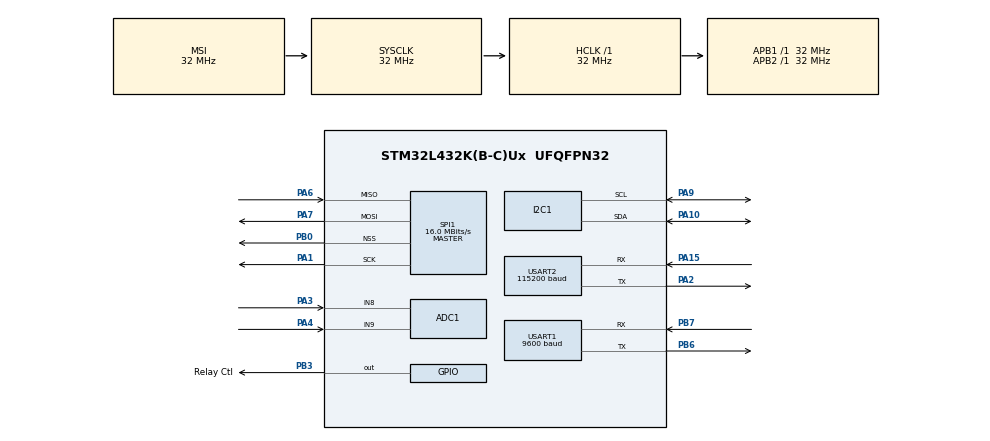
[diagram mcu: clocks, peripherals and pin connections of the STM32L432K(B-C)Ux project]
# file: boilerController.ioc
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ADC1.Channel-0\#ChannelRegularConversion=ADC_CHANNEL_8
ADC1.Channel-1\#ChannelRegularConversion=ADC_CHANNEL_9
ADC1.ClockPrescaler=ADC_CLOCK_SYNC_PCLK_DIV1
ADC1.ContinuousConvMode=ENABLE
ADC1.DMAContinuousRequests=ENABLE
ADC1.NbrOfConversion=2
ADC1.NbrOfConversionFlag=1
ADC1.OffsetNumber-0\#ChannelRegularConversion=ADC_OFFSET_NONE
ADC1.OffsetNumber-1\#ChannelRegularConversion=ADC_OFFSET_NONE
ADC1.Rank-0\#ChannelRegularConversion=1
ADC1.Rank-1\#ChannelRegularConversion=2
ADC1.SamplingTime-0\#ChannelRegularConversion=ADC_SAMPLETIME_247CYCLES_5
ADC1.SamplingTime-1\#ChannelRegularConversion=ADC_SAMPLETIME_247CYCLES_5
ADC1.master=1
Dma.ADC1.0.Direction=DMA_PERIPH_TO_MEMORY
Dma.ADC1.0.Instance=DMA1_Channel1
Dma.ADC1.0.MemDataAlignment=DMA_MDATAALIGN_WORD
Dma.ADC1.0.MemInc=DMA_MINC_ENABLE
Dma.ADC1.0.Mode=DMA_CIRCULAR
Dma.ADC1.0.PeriphDataAlignment=DMA_PDATAALIGN_WORD
Dma.ADC1.0.PeriphInc=DMA_PINC_DISABLE
Dma.ADC1.0.Priority=DMA_PRIORITY_LOW
Dma.Request0=ADC1
Dma.Request1=USART1_RX
Dma.USART1_RX.1.Direction=DMA_PERIPH_TO_MEMORY
Dma.USART1_RX.1.Instance=DMA1_Channel5
Dma.USART1_RX.1.MemDataAlignment=DMA_MDATAALIGN_BYTE
Dma.USART1_RX.1.MemInc=DMA_MINC_ENABLE
Dma.USART1_RX.1.Mode=DMA_CIRCULAR
Dma.USART1_RX.1.PeriphDataAlignment=DMA_PDATAALIGN_BYTE
Dma.USART1_RX.1.PeriphInc=DMA_PINC_DISABLE
Dma.USART1_RX.1.Priority=DMA_PRIORITY_LOW
I2C1.Timing=0x00707CBB
Mcu.Family=STM32L4
Mcu.Name=STM32L432K(B-C)Ux
Mcu.Package=UFQFPN32
NVIC.DMA1_Channel1_IRQn=true\:0\:0\:false\:false\:true\:false
NVIC.DMA1_Channel5_IRQn=true\:0\:0\:false\:false\:true\:false
NVIC.PriorityGroup=NVIC_PRIORITYGROUP_4
NVIC.RTC_Alarm_IRQn=true\:0\:0\:false\:false\:true\:true
PA1.Mode=Full_Duplex_Master
PA1.Signal=SPI1_SCK
PA10.Mode=I2C
PA10.Signal=I2C1_SDA
PA13\ (JTMS-SWDIO).Mode=Serial_Wire
PA13\ (JTMS-SWDIO).Signal=SYS_JTMS-SWDIO
PA14\ (JTCK-SWCLK).Mode=Serial_Wire
PA14\ (JTCK-SWCLK).Signal=SYS_JTCK-SWCLK
PA15\ (JTDI).Mode=Asynchronous
PA15\ (JTDI).Signal=USART2_RX
PA2.Mode=Asynchronous
PA2.Signal=USART2_TX
PA3.Signal=ADCx_IN8
PA4.Signal=ADCx_IN9
PA6.Mode=Full_Duplex_Master
PA6.Signal=SPI1_MISO
PA7.Mode=Full_Duplex_Master
PA7.Signal=SPI1_MOSI
PA9.Mode=I2C
PA9.Signal=I2C1_SCL
PB0.Mode=NSS_Signal_Hard_Output
PB0.Signal=SPI1_NSS
PB3\ (JTDO-TRACESWO).GPIO_Label=Relay Ctl
PB3\ (JTDO-TRACESWO).Signal=GPIO_Output
PB6.Mode=Asynchronous
PB6.Signal=USART1_TX
PB7.Mode=Asynchronous
PB7.Signal=USART1_RX
ProjectManager.HeapSize=0x200
ProjectManager.StackSize=0x400
ProjectManager.TargetToolchain=TrueSTUDIO
RCC.ADCFreq_Value=64000000
RCC.AHBFreq_Value=32000000
RCC.APB1Freq_Value=32000000
RCC.APB1TimFreq_Value=32000000
RCC.APB2Freq_Value=32000000
RCC.APB2TimFreq_Value=32000000
RCC.CortexFreq_Value=32000000
RCC.HCLKFreq_Value=32000000
RCC.HSE_VALUE=8000000
RCC.HSI48_VALUE=48000000
RCC.HSI_VALUE=16000000
RCC.LSE_VALUE=32768
RCC.MSIClockRange=RCC_MSIRANGE_10
RCC.MSI_VALUE=32000000
RCC.PLLM=2
RCC.SYSCLKFreq_VALUE=32000000
RCC.USBFreq_Value=64000000
RCC.VCOOutputFreq_Value=128000000
RTC.Alarm=RTC_ALARM_A
RTC.AlarmMaskDateWeekDay=RTC_ALARMMASK_DATEWEEKDAY
RTC.AlarmMaskHours=RTC_ALARMMASK_HOURS
RTC.AlarmMaskMinutes=RTC_ALARMMASK_MINUTES
RTC.AlarmMaskSeconds=RTC_ALARMMASK_SECONDS
RTC.Date=30
RTC.DayLightSaving=RTC_DAYLIGHTSAVING_SUB1H
RTC.Format=RTC_FORMAT_BIN
RTC.Hours=3
RTC.Hours_A=0
RTC.Minutes=4
RTC.Month=RTC_MONTH_DECEMBER
RTC.Seconds=5
RTC.Seconds_A=0
RTC.Year=17
SH.ADCx_IN8.0=ADC1_IN8,IN8-Single-Ended
SH.ADCx_IN9.0=ADC1_IN9,IN9-Single-Ended
SPI1.CalculateBaudRate=16.0 MBits/s
SPI1.Direction=SPI_DIRECTION_2LINES
SPI1.Mode=SPI_MODE_MASTER
SPI1.VirtualNSS=VM_NSSHARD
SPI1.VirtualType=VM_MASTER
USART1.BaudRate=9600
USART1.VirtualMode-Asynchronous=VM_ASYNC
USART2.BaudRate=115200
USART2.VirtualMode-Asynchronous=VM_ASYNC
VP_ADC1_Vref_Input.Mode=IN-Vrefint
VP_RTC_VS_RTC_Activate.Mode=RTC_Enabled
VP_RTC_VS_RTC_Alarm_A_Intern.Mode=Alarm A
VP_RTC_VS_RTC_Calendar.Mode=RTC_Calendar
board=custom

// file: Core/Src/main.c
/* USER CODE BEGIN Header */
/**
  ******************************************************************************
  * @file           : main.c
  * @brief          : Main program body
  ******************************************************************************
  ** This notice applies to any and all portions of this file
  * that are not between comment pairs USER CODE BEGIN and
  * USER CODE END. Other portions of this file, whether
  * inserted by the user or by software development tools
  * are owned by their respective copyright owners.
  *
  * COPYRIGHT(c) 2018 STMicroelectronics
  *
  * Redistribution and use in source and binary forms, with or without modification,
  * are permitted provided that the following conditions are met:
  *   1. Redistributions of source code must retain the above copyright notice,
  *      this list of conditions and the following disclaimer.
  *   2. Redistributions in binary form must reproduce the above copyright notice,
  *      this list of conditions and the following disclaimer in the documentation
  *      and/or other materials provided with the distribution.
  *   3. Neither the name of STMicroelectronics nor the names of its contributors
  *      may be used to endorse or promote products derived from this software
  *      without specific prior written permission.
  *
  * THIS SOFTWARE IS PROVIDED BY THE COPYRIGHT HOLDERS AND CONTRIBUTORS "AS IS"
  * AND ANY EXPRESS OR IMPLIED WARRANTIES, INCLUDING, BUT NOT LIMITED TO, THE
  * IMPLIED WARRANTIES OF MERCHANTABILITY AND FITNESS FOR A PARTICULAR PURPOSE ARE
  * DISCLAIMED. IN NO EVENT SHALL THE COPYRIGHT HOLDER OR CONTRIBUTORS BE LIABLE
  * FOR ANY DIRECT, INDIRECT, INCIDENTAL, SPECIAL, EXEMPLARY, OR CONSEQUENTIAL
  * DAMAGES (INCLUDING, BUT NOT LIMITED TO, PROCUREMENT OF SUBSTITUTE GOODS OR
  * SERVICES; LOSS OF USE, DATA, OR PROFITS; OR BUSINESS INTERRUPTION) HOWEVER
  * CAUSED AND ON ANY THEORY OF LIABILITY, WHETHER IN CONTRACT, STRICT LIABILITY,
  * OR TORT (INCLUDING NEGLIGENCE OR OTHERWISE) ARISING IN ANY WAY OUT OF THE USE
  * OF THIS SOFTWARE, EVEN IF ADVISED OF THE POSSIBILITY OF SUCH DAMAGE.
  *
  ******************************************************************************
  */
/* USER CODE END Header */

#include "main.h"

/* USER CODE BEGIN Includes */
/*Notes:
add the linker flag to sprintf floats: “-u _printf_float”*/
#include "stdio.h"
#include "string.h"
#include "stdlib.h"
#include "../SSD1306/SSD1306.h"
#include "../temperature/temperature.h"
// Graphical resources
#include "../SSD1306/resources/font5x7.h"
#include "../SSD1306/resources/font7x10.h"
/* USER CODE END Includes */

ADC_HandleTypeDef hadc1;
DMA_HandleTypeDef hdma_adc1;

I2C_HandleTypeDef hi2c1;

RTC_HandleTypeDef hrtc;

SPI_HandleTypeDef hspi1;

UART_HandleTypeDef huart1;
UART_HandleTypeDef huart2;
DMA_HandleTypeDef hdma_usart1_rx;

/* USER CODE BEGIN PV */

uint32_t buffer_ADC[2];
uint8_t buffer_TXhuart1[35];
uint8_t buffer_RXhuart1[64];
uint8_t buffer_TXhuart2[23];
uint8_t buffer_RXhuart2[10];

uint8_t date[10];
uint8_t time[10];
uint8_t datetime[21];
uint8_t buffer_OLED[128];
uint8_t rx_buff[64];
uint32_t temperatures_NTC[2];
uint8_t tx_buff[] = {0,1,2,3,4,5,6,7,8,9};

uint8_t flag_alarmsec = 0;
uint8_t flag_alarmmin = 0;
uint8_t flag_BTRX = 0;

/* USER CODE END PV */

void SystemClock_Config(void);
static void MX_GPIO_Init(void);
static void MX_DMA_Init(void);
static void MX_ADC1_Init(void);
static void MX_I2C1_Init(void);
static void MX_USART1_UART_Init(void);
static void MX_SPI1_Init(void);
static void MX_RTC_Init(void);
static void MX_USART2_UART_Init(void);

/* USER CODE BEGIN 0 */
//ISR for ADC, DMA to results
void HAL_ADC_ConvCpltCallback(ADC_HandleTypeDef* hadc)
{
	//channel 8 then 9 (two ADC readings)
	memcpy(temperatures_NTC, buffer_ADC, sizeof(buffer_ADC));
}

//ISR for uart, DMA to results
void HAL_UART_RxCpltCallback(UART_HandleTypeDef *huart)
{
	memcpy(buffer_RXhuart1, rx_buff, sizeof(rx_buff));

	flag_BTRX = 1;
}

void HAL_RTC_AlarmAEventCallback(RTC_HandleTypeDef *hrtc)
{
	flag_alarmsec++;
	flag_alarmmin++;
}

void get_datetime()
{
	RTC_TimeTypeDef gTime = {0};
	RTC_DateTypeDef gDate = {0};

	HAL_RTC_GetTime(&hrtc, &gTime, RTC_FORMAT_BIN);
	HAL_RTC_GetDate(&hrtc, &gDate, RTC_FORMAT_BIN);

	sprintf((char*)time, "%02d:%02d:%02d", gTime.Hours, gTime.Minutes, gTime.Seconds);
	sprintf((char*)date, "%02d-%02d-%02d", gDate.Date, gDate.Month, 2000 + gDate.Year);
	sprintf((char*)datetime, "%02d-%02d-%d / %02d:%02d:%02d", gDate.Date, gDate.Month, 2000 + gDate.Year, gTime.Hours, gTime.Minutes, gTime.Seconds);
}

void set_datetime(uint32_t dateTime[])
{
	RTC_TimeTypeDef sTime = {0};
	RTC_DateTypeDef sDate = {0};

	sTime.Hours = dateTime[3];
	sTime.Minutes = dateTime[4];
	sTime.Seconds = dateTime[5];
	sTime.DayLightSaving = RTC_DAYLIGHTSAVING_NONE;
	sTime.StoreOperation = RTC_STOREOPERATION_RESET;
	sTime.TimeFormat = RTC_HOURFORMAT_24;
	if (HAL_RTC_SetTime(&hrtc, &sTime, RTC_FORMAT_BIN) != HAL_OK)
	{
	Error_Handler();
	}
	sDate.WeekDay = RTC_WEEKDAY_MONDAY;
	sDate.Date = dateTime[0];
	sDate.Month = dateTime[1];
	sDate.Year = dateTime[2];

	if (HAL_RTC_SetDate(&hrtc, &sDate, RTC_FORMAT_BIN) != HAL_OK)
	{
	Error_Handler();
	}
}

/* USER CODE END 0 */

int main(void)
{

  /* MCU Configuration--------------------------------------------------------*/

  /* Reset of all peripherals, Initializes the Flash interface and the Systick. */
  HAL_Init();

  /* Configure the system clock */
  SystemClock_Config();

  /* Initialize all configured peripherals */
  MX_GPIO_Init();
  MX_DMA_Init();
  MX_ADC1_Init();
  MX_I2C1_Init();
  MX_USART1_UART_Init();
  MX_SPI1_Init();
  MX_RTC_Init();
  MX_USART2_UART_Init();
  /* USER CODE BEGIN 2 */

  //DMA for analog temperature sensors
  HAL_ADC_Start_DMA(&hadc1, buffer_ADC, 2);
  //DMA for UART
  HAL_UART_Receive_DMA(&huart1, rx_buff, 64);
  //Initialization for SSD1300
  HAL_I2C_Init(&hi2c1);
  SSD1306_Init(hi2c1);
  HAL_Delay(100);
  SSD1306_Fill(0x00);
  SSD1306_Flush(hi2c1);

  /* USER CODE END 2 */

  /* Infinite loop */
  /* USER CODE BEGIN WHILE */
  while (1)
  {
	  //one second alarm
	  if(flag_alarmsec)
	  {
		  flag_alarmsec = 0;

		  //TO OLED
		  get_datetime();
		  SSD1306_Fill(0x00);
		  sprintf((char*)buffer_OLED, "Time: %s", (uint8_t *)time);
		  LCD_PutStr(0, 0, buffer_OLED ,fnt7x10);
		  sprintf((char*)buffer_OLED, "Date: %s", date);
		  LCD_PutStr(0, 14, buffer_OLED ,fnt7x10);
		  sprintf((char*)buffer_OLED, "H2O : %.1f", CalculateSteinhart(temperatures_NTC[0]));
		  LCD_PutStr(0, 34, buffer_OLED ,fnt7x10);
		  sprintf((char*)buffer_OLED, "AIR : %.1f", CalculateSteinhart(temperatures_NTC[1]));
		  LCD_PutStr(0, 48, buffer_OLED ,fnt7x10);
		  SSD1306_Flush(hi2c1);

		  //TO BLUETOOTH
		  sprintf((char*)buffer_TXhuart1, "%d,%05.1f,%05.1f,%s", LIVEDATA, CalculateSteinhart(temperatures_NTC[0]), CalculateSteinhart(temperatures_NTC[1]), datetime);
		  HAL_UART_Transmit(&huart1, buffer_TXhuart1, LIVADATA_SIZE, 100);
	  }

	  //ten second alarm
	  if(flag_alarmmin >= 10)
	  {
		  flag_alarmmin = 0;
		  HAL_UART_Transmit(&huart2, (uint8_t *)"Timer 10 timeout.\n", 18, 100);
	  }

	  //FROM BLUETOOTH
	  if(flag_BTRX == 1)
	  {
		  switch((int)(buffer_RXhuart1[0] - '0'))
		  {
		  	  case LIVEDATA:
		  	  {
		  		  char* token;
		  		  uint8_t i = 0;
		  		  uint32_t test[6] = {};

				  token = strtok ((char*)buffer_RXhuart1,",");
				  while (token != NULL)
				  {
					  if(i >= 1 && i <= 6)
						  test[i - 1] = atoi(token);

					  i++;
					  token = strtok (NULL, ",");
				  }
				  set_datetime(test);
		  		  break;
		  	  }
		  	  default:
		  		  break;
		  }
		  flag_BTRX = 0;
	  }
    /* USER CODE END WHILE */

    /* USER CODE BEGIN 3 */
	  HAL_Delay(100);
  }
  /* USER CODE END 3 */
}

void SystemClock_Config(void)
{
  RCC_OscInitTypeDef RCC_OscInitStruct = {0};
  RCC_ClkInitTypeDef RCC_ClkInitStruct = {0};
  RCC_PeriphCLKInitTypeDef PeriphClkInit = {0};

  /**Initializes the CPU, AHB and APB busses clocks
  */
  RCC_OscInitStruct.OscillatorType = RCC_OSCILLATORTYPE_LSI|RCC_OSCILLATORTYPE_MSI;
  RCC_OscInitStruct.LSIState = RCC_LSI_ON;
  RCC_OscInitStruct.MSIState = RCC_MSI_ON;
  RCC_OscInitStruct.MSICalibrationValue = 0;
  RCC_OscInitStruct.MSIClockRange = RCC_MSIRANGE_10;
  RCC_OscInitStruct.PLL.PLLState = RCC_PLL_NONE;
  if (HAL_RCC_OscConfig(&RCC_OscInitStruct) != HAL_OK)
  {
    Error_Handler();
  }
  /**Initializes the CPU, AHB and APB busses clocks
  */
  RCC_ClkInitStruct.ClockType = RCC_CLOCKTYPE_HCLK|RCC_CLOCKTYPE_SYSCLK
                              |RCC_CLOCKTYPE_PCLK1|RCC_CLOCKTYPE_PCLK2;
  RCC_ClkInitStruct.SYSCLKSource = RCC_SYSCLKSOURCE_MSI;
  RCC_ClkInitStruct.AHBCLKDivider = RCC_SYSCLK_DIV1;
  RCC_ClkInitStruct.APB1CLKDivider = RCC_HCLK_DIV1;
  RCC_ClkInitStruct.APB2CLKDivider = RCC_HCLK_DIV1;

  if (HAL_RCC_ClockConfig(&RCC_ClkInitStruct, FLASH_LATENCY_1) != HAL_OK)
  {
    Error_Handler();
  }
  PeriphClkInit.PeriphClockSelection = RCC_PERIPHCLK_RTC|RCC_PERIPHCLK_USART1
                              |RCC_PERIPHCLK_USART2|RCC_PERIPHCLK_I2C1
                              |RCC_PERIPHCLK_ADC;
  PeriphClkInit.Usart1ClockSelection = RCC_USART1CLKSOURCE_PCLK2;
  PeriphClkInit.Usart2ClockSelection = RCC_USART2CLKSOURCE_PCLK1;
  PeriphClkInit.I2c1ClockSelection = RCC_I2C1CLKSOURCE_PCLK1;
  PeriphClkInit.AdcClockSelection = RCC_ADCCLKSOURCE_PLLSAI1;
  PeriphClkInit.RTCClockSelection = RCC_RTCCLKSOURCE_LSI;
  PeriphClkInit.PLLSAI1.PLLSAI1Source = RCC_PLLSOURCE_MSI;
  PeriphClkInit.PLLSAI1.PLLSAI1M = 2;
  PeriphClkInit.PLLSAI1.PLLSAI1N = 8;
  PeriphClkInit.PLLSAI1.PLLSAI1P = RCC_PLLP_DIV7;
  PeriphClkInit.PLLSAI1.PLLSAI1Q = RCC_PLLQ_DIV2;
  PeriphClkInit.PLLSAI1.PLLSAI1R = RCC_PLLR_DIV2;
  PeriphClkInit.PLLSAI1.PLLSAI1ClockOut = RCC_PLLSAI1_ADC1CLK;
  if (HAL_RCCEx_PeriphCLKConfig(&PeriphClkInit) != HAL_OK)
  {
    Error_Handler();
  }
  /**Configure the main internal regulator output voltage
  */
  if (HAL_PWREx_ControlVoltageScaling(PWR_REGULATOR_VOLTAGE_SCALE1) != HAL_OK)
  {
    Error_Handler();
  }
}

static void MX_ADC1_Init(void)
{

  ADC_ChannelConfTypeDef sConfig = {0};

  /**Common config
  */
  hadc1.Instance = ADC1;
  hadc1.Init.ClockPrescaler = ADC_CLOCK_SYNC_PCLK_DIV1;
  hadc1.Init.Resolution = ADC_RESOLUTION_12B;
  hadc1.Init.DataAlign = ADC_DATAALIGN_RIGHT;
  hadc1.Init.ScanConvMode = ADC_SCAN_ENABLE;
  hadc1.Init.EOCSelection = ADC_EOC_SINGLE_CONV;
  hadc1.Init.LowPowerAutoWait = DISABLE;
  hadc1.Init.ContinuousConvMode = ENABLE;
  hadc1.Init.NbrOfConversion = 2;
  hadc1.Init.DiscontinuousConvMode = DISABLE;
  hadc1.Init.ExternalTrigConv = ADC_SOFTWARE_START;
  hadc1.Init.ExternalTrigConvEdge = ADC_EXTERNALTRIGCONVEDGE_NONE;
  hadc1.Init.DMAContinuousRequests = ENABLE;
  hadc1.Init.Overrun = ADC_OVR_DATA_PRESERVED;
  hadc1.Init.OversamplingMode = DISABLE;
  if (HAL_ADC_Init(&hadc1) != HAL_OK)
  {
    Error_Handler();
  }
  /**Configure Regular Channel
  */
  sConfig.Channel = ADC_CHANNEL_8;
  sConfig.Rank = ADC_REGULAR_RANK_1;
  sConfig.SamplingTime = ADC_SAMPLETIME_247CYCLES_5;
  sConfig.SingleDiff = ADC_SINGLE_ENDED;
  sConfig.OffsetNumber = ADC_OFFSET_NONE;
  sConfig.Offset = 0;
  if (HAL_ADC_ConfigChannel(&hadc1, &sConfig) != HAL_OK)
  {
    Error_Handler();
  }
  /**Configure Regular Channel
  */
  sConfig.Channel = ADC_CHANNEL_9;
  sConfig.Rank = ADC_REGULAR_RANK_2;
  if (HAL_ADC_ConfigChannel(&hadc1, &sConfig) != HAL_OK)
  {
    Error_Handler();
  }

}

static void MX_I2C1_Init(void)
{

  hi2c1.Instance = I2C1;
  hi2c1.Init.Timing = 0x00707CBB;
  hi2c1.Init.OwnAddress1 = 0;
  hi2c1.Init.AddressingMode = I2C_ADDRESSINGMODE_7BIT;
  hi2c1.Init.DualAddressMode = I2C_DUALADDRESS_DISABLE;
  hi2c1.Init.OwnAddress2 = 0;
  hi2c1.Init.OwnAddress2Masks = I2C_OA2_NOMASK;
  hi2c1.Init.GeneralCallMode = I2C_GENERALCALL_DISABLE;
  hi2c1.Init.NoStretchMode = I2C_NOSTRETCH_DISABLE;
  if (HAL_I2C_Init(&hi2c1) != HAL_OK)
  {
    Error_Handler();
  }
  /**Configure Analogue filter
  */
  if (HAL_I2CEx_ConfigAnalogFilter(&hi2c1, I2C_ANALOGFILTER_ENABLE) != HAL_OK)
  {
    Error_Handler();
  }
  /**Configure Digital filter
  */
  if (HAL_I2CEx_ConfigDigitalFilter(&hi2c1, 0) != HAL_OK)
  {
    Error_Handler();
  }

}

static void MX_RTC_Init(void)
{

  RTC_TimeTypeDef sTime = {0};
  RTC_DateTypeDef sDate = {0};
  RTC_AlarmTypeDef sAlarm = {0};

  /**Initialize RTC Only
  */
  hrtc.Instance = RTC;
  hrtc.Init.HourFormat = RTC_HOURFORMAT_24;
  hrtc.Init.AsynchPrediv = 127;
  hrtc.Init.SynchPrediv = 255;
  hrtc.Init.OutPut = RTC_OUTPUT_DISABLE;
  hrtc.Init.OutPutRemap = RTC_OUTPUT_REMAP_NONE;
  hrtc.Init.OutPutPolarity = RTC_OUTPUT_POLARITY_HIGH;
  hrtc.Init.OutPutType = RTC_OUTPUT_TYPE_OPENDRAIN;
  if (HAL_RTC_Init(&hrtc) != HAL_OK)
  {
    Error_Handler();
  }

  /**Initialize RTC and set the Time and Date
  */
  sTime.Hours = 3;
  sTime.Minutes = 4;
  sTime.Seconds = 5;
  sTime.DayLightSaving = RTC_DAYLIGHTSAVING_SUB1H;
  sTime.StoreOperation = RTC_STOREOPERATION_RESET;
  if (HAL_RTC_SetTime(&hrtc, &sTime, RTC_FORMAT_BIN) != HAL_OK)
  {
    Error_Handler();
  }
  sDate.WeekDay = RTC_WEEKDAY_MONDAY;
  sDate.Month = RTC_MONTH_DECEMBER;
  sDate.Date = 30;
  sDate.Year = 17;

  if (HAL_RTC_SetDate(&hrtc, &sDate, RTC_FORMAT_BIN) != HAL_OK)
  {
    Error_Handler();
  }
  /**Enable the Alarm A
  */
  sAlarm.AlarmTime.Hours = 0;
  sAlarm.AlarmTime.Minutes = 0;
  sAlarm.AlarmTime.Seconds = 0;
  sAlarm.AlarmTime.SubSeconds = 0;
  sAlarm.AlarmTime.DayLightSaving = RTC_DAYLIGHTSAVING_SUB1H;
  sAlarm.AlarmTime.StoreOperation = RTC_STOREOPERATION_RESET;
  sAlarm.AlarmMask = RTC_ALARMMASK_ALL;
  sAlarm.AlarmSubSecondMask = RTC_ALARMSUBSECONDMASK_ALL;
  sAlarm.AlarmDateWeekDaySel = RTC_ALARMDATEWEEKDAYSEL_DATE;
  sAlarm.AlarmDateWeekDay = 1;
  sAlarm.Alarm = RTC_ALARM_A;
  if (HAL_RTC_SetAlarm_IT(&hrtc, &sAlarm, RTC_FORMAT_BIN) != HAL_OK)
  {
    Error_Handler();
  }

}

static void MX_SPI1_Init(void)
{

  /* SPI1 parameter configuration*/
  hspi1.Instance = SPI1;
  hspi1.Init.Mode = SPI_MODE_MASTER;
  hspi1.Init.Direction = SPI_DIRECTION_2LINES;
  hspi1.Init.DataSize = SPI_DATASIZE_4BIT;
  hspi1.Init.CLKPolarity = SPI_POLARITY_LOW;
  hspi1.Init.CLKPhase = SPI_PHASE_1EDGE;
  hspi1.Init.NSS = SPI_NSS_HARD_OUTPUT;
  hspi1.Init.BaudRatePrescaler = SPI_BAUDRATEPRESCALER_2;
  hspi1.Init.FirstBit = SPI_FIRSTBIT_MSB;
  hspi1.Init.TIMode = SPI_TIMODE_DISABLE;
  hspi1.Init.CRCCalculation = SPI_CRCCALCULATION_DISABLE;
  hspi1.Init.CRCPolynomial = 7;
  hspi1.Init.CRCLength = SPI_CRC_LENGTH_DATASIZE;
  hspi1.Init.NSSPMode = SPI_NSS_PULSE_ENABLE;
  if (HAL_SPI_Init(&hspi1) != HAL_OK)
  {
    Error_Handler();
  }

}

static void MX_USART1_UART_Init(void)
{

  huart1.Instance = USART1;
  huart1.Init.BaudRate = 9600;
  huart1.Init.WordLength = UART_WORDLENGTH_8B;
  huart1.Init.StopBits = UART_STOPBITS_1;
  huart1.Init.Parity = UART_PARITY_NONE;
  huart1.Init.Mode = UART_MODE_TX_RX;
  huart1.Init.HwFlowCtl = UART_HWCONTROL_NONE;
  huart1.Init.OverSampling = UART_OVERSAMPLING_16;
  huart1.Init.OneBitSampling = UART_ONE_BIT_SAMPLE_DISABLE;
  huart1.AdvancedInit.AdvFeatureInit = UART_ADVFEATURE_NO_INIT;
  if (HAL_UART_Init(&huart1) != HAL_OK)
  {
    Error_Handler();
  }

}

static void MX_USART2_UART_Init(void)
{

  huart2.Instance = USART2;
  huart2.Init.BaudRate = 115200;
  huart2.Init.WordLength = UART_WORDLENGTH_8B;
  huart2.Init.StopBits = UART_STOPBITS_1;
  huart2.Init.Parity = UART_PARITY_NONE;
  huart2.Init.Mode = UART_MODE_TX_RX;
  huart2.Init.HwFlowCtl = UART_HWCONTROL_NONE;
  huart2.Init.OverSampling = UART_OVERSAMPLING_16;
  huart2.Init.OneBitSampling = UART_ONE_BIT_SAMPLE_DISABLE;
  huart2.AdvancedInit.AdvFeatureInit = UART_ADVFEATURE_NO_INIT;
  if (HAL_UART_Init(&huart2) != HAL_OK)
  {
    Error_Handler();
  }

}

static void MX_DMA_Init(void)
{
  /* DMA controller clock enable */
  __HAL_RCC_DMA1_CLK_ENABLE();

  /* DMA interrupt init */
  /* DMA1_Channel1_IRQn interrupt configuration */
  HAL_NVIC_SetPriority(DMA1_Channel1_IRQn, 0, 0);
  HAL_NVIC_EnableIRQ(DMA1_Channel1_IRQn);
  /* DMA1_Channel5_IRQn interrupt configuration */
  HAL_NVIC_SetPriority(DMA1_Channel5_IRQn, 0, 0);
  HAL_NVIC_EnableIRQ(DMA1_Channel5_IRQn);

}

static void MX_GPIO_Init(void)
{
  GPIO_InitTypeDef GPIO_InitStruct = {0};

  /* GPIO Ports Clock Enable */
  __HAL_RCC_GPIOC_CLK_ENABLE();
  __HAL_RCC_GPIOA_CLK_ENABLE();
  __HAL_RCC_GPIOB_CLK_ENABLE();
  __HAL_RCC_GPIOH_CLK_ENABLE();

  /*Configure GPIO pin Output Level */
  HAL_GPIO_WritePin(Relay_Ctl_GPIO_Port, Relay_Ctl_Pin, GPIO_PIN_RESET);

  /*Configure GPIO pins : PC14 PC15 */
  GPIO_InitStruct.Pin = GPIO_PIN_14|GPIO_PIN_15;
  GPIO_InitStruct.Mode = GPIO_MODE_ANALOG;
  GPIO_InitStruct.Pull = GPIO_NOPULL;
  HAL_GPIO_Init(GPIOC, &GPIO_InitStruct);

  /*Configure GPIO pins : PA0 PA5 PA8 PA11
                           PA12 */
  GPIO_InitStruct.Pin = GPIO_PIN_0|GPIO_PIN_5|GPIO_PIN_8|GPIO_PIN_11
                          |GPIO_PIN_12;
  GPIO_InitStruct.Mode = GPIO_MODE_ANALOG;
  GPIO_InitStruct.Pull = GPIO_NOPULL;
  HAL_GPIO_Init(GPIOA, &GPIO_InitStruct);

  /*Configure GPIO pins : PB1 PB4 PB5 */
  GPIO_InitStruct.Pin = GPIO_PIN_1|GPIO_PIN_4|GPIO_PIN_5;
  GPIO_InitStruct.Mode = GPIO_MODE_ANALOG;
  GPIO_InitStruct.Pull = GPIO_NOPULL;
  HAL_GPIO_Init(GPIOB, &GPIO_InitStruct);

  /*Configure GPIO pin : Relay_Ctl_Pin */
  GPIO_InitStruct.Pin = Relay_Ctl_Pin;
  GPIO_InitStruct.Mode = GPIO_MODE_OUTPUT_PP;
  GPIO_InitStruct.Pull = GPIO_NOPULL;
  GPIO_InitStruct.Speed = GPIO_SPEED_FREQ_LOW;
  HAL_GPIO_Init(Relay_Ctl_GPIO_Port, &GPIO_InitStruct);

  /*Configure GPIO pin : PH3 */
  GPIO_InitStruct.Pin = GPIO_PIN_3;
  GPIO_InitStruct.Mode = GPIO_MODE_ANALOG;
  GPIO_InitStruct.Pull = GPIO_NOPULL;
  HAL_GPIO_Init(GPIOH, &GPIO_InitStruct);

}

void Error_Handler(void)
{
}

/************************ (C) COPYRIGHT STMicroelectronics *****END OF FILE****/
